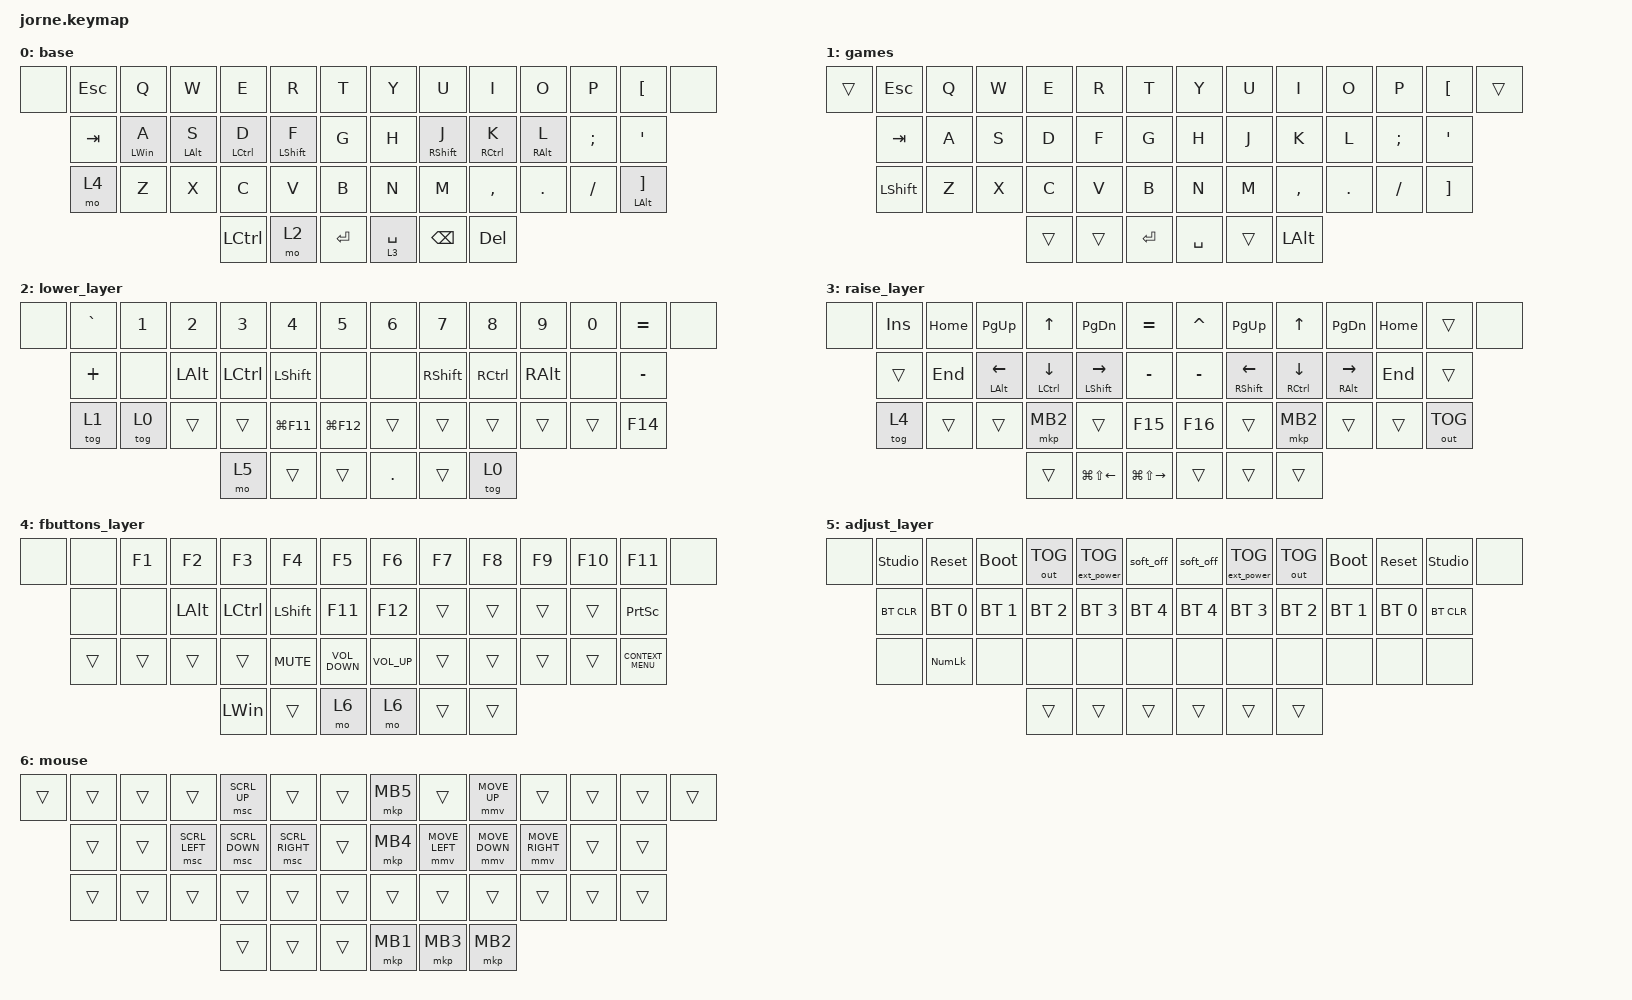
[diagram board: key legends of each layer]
/*
 * Copyright (c) 2020 The ZMK Contributors
 *
 * SPDX-License-Identifier: MIT
 */

#include <behaviors.dtsi>
#include <dt-bindings/zmk/bt.h>
#include <dt-bindings/zmk/ext_power.h>
#include <dt-bindings/zmk/keys.h>
#include <dt-bindings/zmk/outputs.h>
#include <dt-bindings/zmk/pointing.h>

&lt { quick-tap-ms = <219>; };

&mt { quick-tap-ms = <219>; };

/ {
    combos {
        compatible = "zmk,combos";

        ParaLeft {
            bindings = <&kp LEFT_PARENTHESIS>;
            key-positions = <5 4>;
            layers = <0 1>;
        };

        ParaRight {
            bindings = <&kp RIGHT_PARENTHESIS>;
            key-positions = <8 9>;
            layers = <0 1>;
        };

        BracketLeft {
            bindings = <&kp LEFT_BRACKET>;
            key-positions = <18 17>;
            layers = <0 1>;
        };

        BracketRight {
            bindings = <&kp RIGHT_BRACKET>;
            key-positions = <21 22>;
            layers = <0 1>;
        };

        BraceLeft {
            bindings = <&kp LEFT_BRACE>;
            key-positions = <30 29>;
            layers = <0 1>;
        };

        BraceRight {
            bindings = <&kp RIGHT_BRACE>;
            key-positions = <33 34>;
            layers = <0 1>;
        };

        MinusSign {
            bindings = <&kp MINUS>;
            key-positions = <3 4>;
            layers = <0 1>;
        };

        PlusSign {
            bindings = <&kp PLUS>;
            key-positions = <3 2>;
            layers = <0 1>;
        };

        Underscoresign {
            bindings = <&kp UNDERSCORE>;
            key-positions = <9 10>;
            layers = <0 1>;
        };

        PipeSign {
            bindings = <&kp PIPE>;
            key-positions = <10 11>;
            layers = <0 1>;
        };

        DoubleQuote {
            bindings = <&kp DOUBLE_QUOTES>;
            key-positions = <17 16>;
            layers = <0 1>;
        };

        SingleQuote {
            bindings = <&kp APOSTROPHE>;
            key-positions = <22 23>;
            layers = <0 1>;
        };

        Backslash {
            bindings = <&kp BSLH>;
            key-positions = <29 28>;
            layers = <0 1>;
        };

        Forwardslash {
            bindings = <&kp SLASH>;
            key-positions = <34 35>;
            layers = <0 1>;
        };
    };

    behaviors {
        hml: hml {
            compatible = "zmk,behavior-hold-tap";
            label = "HML";
            bindings = <&kp>, <&kp>;

            #binding-cells = <2>;
            tapping-term-ms = <220>;
            quick-tap-ms = <175>;
            flavor = "balanced";
            require-prior-idle-ms = <100>;
            hold-trigger-key-positions = <7 8 9 10 11 12 13 20 21 22 23 24 25 32 33 34 35 36 37 38 39 40 41 42 43>;
            hold-trigger-on-release;
        };

        hmr: hmr {
            compatible = "zmk,behavior-hold-tap";
            label = "HMR";
            bindings = <&kp>, <&kp>;

            #binding-cells = <2>;
            tapping-term-ms = <220>;
            quick-tap-ms = <175>;
            require-prior-idle-ms = <100>;
            flavor = "balanced";
            hold-trigger-key-positions = <0 1 2 3 4 5 6 14 15 16 17 18 19 26 27 28 29 30 31 38 39 40 41 42 43>;
            hold-trigger-on-release;
        };
    };

    keymap {
        compatible = "zmk,keymap";

        base {
            // Jorne: 44 keys (positions 0 and 13 are extra outer keys, not present physically)
            // -----------------------------------------------------------------------------------------
            // | x |  ESC |  Q  |  W  |  E  |  R  |  T  |   |  Y  |  U   |  I  |  O  |  P  | BKSP | x |
            //     | TAB  |  A  |  S  |  D  |  F  |  G  |   |  H  |  J   |  K  |  L  |  '  |  '   |
            //     | SHFT |  Z  |  X  |  C  |  V  |  B  |   |  N  |  M   |  ,  |  .  |  /  | SHFT |
            //                        | GUI | LWR | SPC |   | ENT | RSE  | ALT |

            bindings = <
&none  &kp ESC  &kp Q            &kp W            &kp E                &kp R              &kp T        &kp Y        &kp U               &kp I                 &kp O             &kp P          &kp LEFT_BRACKET            &none
       &kp TAB  &hml LEFT_WIN A  &hml LEFT_ALT S  &hml LEFT_CONTROL D  &hml LEFT_SHIFT F  &kp G        &kp H        &hmr RIGHT_SHIFT J  &hmr RIGHT_CONTROL K  &hmr RIGHT_ALT L  &kp SEMICOLON  &kp SINGLE_QUOTE
       &mo 4    &kp Z            &kp X            &kp C                &kp V              &kp B        &kp N        &kp M               &kp COMMA             &kp DOT           &kp FSLH       &mt LEFT_ALT RIGHT_BRACKET
                                                  &kp LEFT_CONTROL     &mo 2              &kp ENTER    &lt 3 SPACE  &kp BACKSPACE       &kp DELETE
            >;
        };

        games {
            bindings = <
&trans  &kp ESC         &kp Q  &kp W  &kp E   &kp R   &kp T        &kp Y      &kp U   &kp I         &kp O    &kp P     &kp LBKT  &trans
        &kp TAB         &kp A  &kp S  &kp D   &kp F   &kp G        &kp H      &kp J   &kp K         &kp L    &kp SEMI  &kp SQT
        &kp LEFT_SHIFT  &kp Z  &kp X  &kp C   &kp V   &kp B        &kp N      &kp M   &kp COMMA     &kp DOT  &kp FSLH  &kp RBKT
                                      &trans  &trans  &kp ENTER    &kp SPACE  &trans  &kp LEFT_ALT
            >;
        };

        lower_layer {
            bindings = <
&none  &kp GRAVE  &kp N1  &kp N2        &kp N3     &kp N4          &kp N5         &kp N6      &kp N7           &kp N8     &kp N9         &kp N0  &kp EQUAL  &none
       &kp PLUS   &none   &kp LEFT_ALT  &kp LCTRL  &kp LEFT_SHIFT  &none          &none       &kp RIGHT_SHIFT  &kp RCTRL  &kp RIGHT_ALT  &none   &kp MINUS
       &tog 1     &tog 0  &trans        &trans     &kp LG(F11)     &kp LG(F12)    &trans      &trans           &trans     &trans         &trans  &kp F14
                                        &mo 5      &trans          &trans         &kp PERIOD  &trans           &tog 0
            >;
        };

        raise_layer {
            bindings = <
&none  &kp INSERT  &kp HOME  &kp PAGE_UP               &kp UP_ARROW           &kp PAGE_DOWN                &kp EQUAL                  &kp CARET  &kp PAGE_UP            &kp UP_ARROW           &kp PAGE_DOWN               &kp HOME  &trans        &none
       &trans      &kp END   &hml LEFT_ALT LEFT_ARROW  &hml LCTRL DOWN_ARROW  &hml LEFT_SHIFT RIGHT_ARROW  &kp MINUS                  &kp MINUS  &hmr RIGHT_SHIFT LEFT  &hmr RCTRL DOWN_ARROW  &hmr RIGHT_ALT RIGHT_ARROW  &kp END   &trans
       &tog 4      &trans    &trans                    &mkp MB2               &trans                       &kp F15                    &kp F16    &trans                 &mkp MB2               &trans                      &trans    &out OUT_TOG
                                                       &trans                 &kp LG(LS(LEFT_ARROW))       &kp LG(LS(RIGHT_ARROW))    &trans     &trans                 &trans
            >;
        };

        fbuttons_layer {
            bindings = <
&none  &none   &kp F1  &kp F2        &kp F3            &kp F4          &kp F5               &kp F6           &kp F7  &kp F8  &kp F9  &kp F10  &kp F11             &none
       &none   &none   &kp LEFT_ALT  &kp LEFT_CONTROL  &kp LEFT_SHIFT  &kp F11              &kp F12          &trans  &trans  &trans  &trans   &kp PSCRN
       &trans  &trans  &trans        &trans            &kp K_MUTE      &kp C_VOLUME_DOWN    &kp C_VOLUME_UP  &trans  &trans  &trans  &trans   &kp K_CONTEXT_MENU
                                     &kp LEFT_WIN      &trans          &mo 6                &mo 6            &trans  &trans
            >;
        };

        adjust_layer {
            bindings = <
&none  &studio_unlock  &sys_reset    &bootloader   &out OUT_TOG  &ext_power EP_TOG  &soft_off       &soft_off     &ext_power EP_TOG  &out OUT_TOG  &bootloader   &sys_reset    &studio_unlock  &none
       &bt BT_CLR      &bt BT_SEL 0  &bt BT_SEL 1  &bt BT_SEL 2  &bt BT_SEL 3       &bt BT_SEL 4    &bt BT_SEL 4  &bt BT_SEL 3       &bt BT_SEL 2  &bt BT_SEL 1  &bt BT_SEL 0  &bt BT_CLR
       &none           &kp KP_NUM    &none         &none         &none              &none           &none         &none              &none         &none         &none         &none
                                                   &trans        &trans             &trans          &trans        &trans             &trans
            >;
        };

        mouse {
            bindings = <
&trans  &trans  &trans  &trans          &msc SCRL_UP    &trans           &trans    &mkp MB5  &trans          &mmv MOVE_UP    &trans           &trans  &trans  &trans
        &trans  &trans  &msc SCRL_LEFT  &msc SCRL_DOWN  &msc SCRL_RIGHT  &trans    &mkp MB4  &mmv MOVE_LEFT  &mmv MOVE_DOWN  &mmv MOVE_RIGHT  &trans  &trans
        &trans  &trans  &trans          &trans          &trans           &trans    &trans    &trans          &trans          &trans           &trans  &trans
                                        &trans          &trans           &trans    &mkp MB1  &mkp MB3        &mkp MB2
            >;
        };
    };
};
